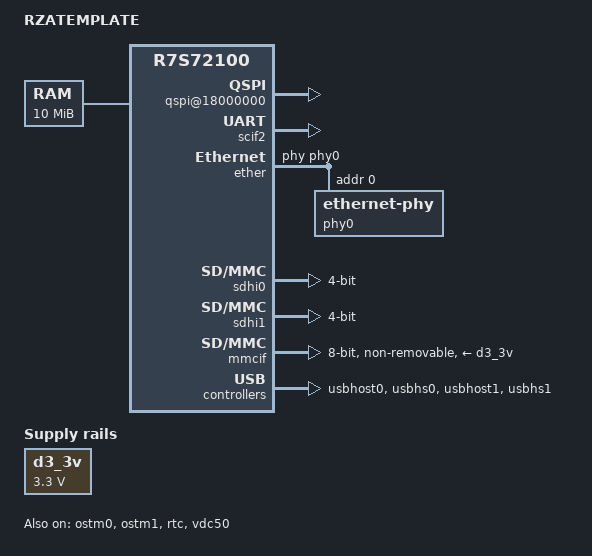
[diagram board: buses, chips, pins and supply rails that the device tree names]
// SPDX-License-Identifier: GPL-2.0 or MIT
/*
 * Device Tree Source for the RZATEMPLATE board
 *
 * Copyright (C) 2017 Renesas Electronics
 *
 * This file is dual-licensed: you can use it either under the terms
 * of the GPL or the MIT license, at your option. Note that this dual
 * licensing only applies to this file, and not this project as a
 * whole.
 *
 */

/dts-v1/;
//#define CONFIG_RZA1L	/* must be defined before including r7s72100.dtsi for RZ/A1L devices */
#include "r7s72100.dtsi"
#include <dt-bindings/gpio/gpio.h>
#include <dt-bindings/pinctrl/r7s72100-pinctrl.h>

/ {
	model = "RZATEMPLATE";
	compatible = "mycompany,rzatemplate", "renesas,r7s72100";

	aliases {
		/* It is recommended to always map the serial console as /dev/ttySC0
		 * in you system regardless of the actual SCIF channel used */
		serial0 = &scif2;
	};

	chosen {
		/* Keep extra spaces at the end in case you want to add additional command line options from u-boot */
		bootargs = "ignore_loglevel earlyprintk earlycon=scif,0xE8008000 rootfstype=axfs root=/dev/null rootflags=physaddr=0x18800000     ";
		stdout-path = "serial0:115200n8";
	};

	memory@8000000 {
		device_type = "memory";
		reg = <0x20000000 0x00A00000>;
	};

	lbsc {
		#address-cells = <1>;
		#size-cells = <1>;
	};

#if 0 /* LED (GPIO) as an example */
	leds {
		status = "okay";
		compatible = "gpio-leds";

		led0 {
			gpios = <&port7 1 GPIO_ACTIVE_LOW>;
		};
	};
#endif

#if 1
	/* File System in XIP QSPI */
	/* Remember, we'll be in QSPI XIP mode at this point */
	/* Requires CONFIG_MTD_ROM=y */
	qspi@18000000 {
		compatible = "mtd-rom";
		probe-type = "map_rom";
		reg = <0x18000000 0x4000000>;	/* 64 MB*/
		bank-width = <4>;
		device-width = <1>;

		#address-cells = <1>;
		#size-cells = <1>;

		partition@800000 {
			label ="user";
			reg = <0x0800000 0x800000>; /* 8MB @ 0x18800000 */
			read-only;
		};
	};
#endif
};

/* SECT_EXTAL */
/* EXTAL (remove if not populated) */
&extal_clk {
	clock-frequency = <13330000>;	/* 13.33MHz */
};
/* SECT_EXTAL_END */

/* SECT_USB_EXTAL */
/* USB_X1 (remove if not populated) */
&usb_x1_clk {
	clock-frequency = <48000000>;	/* 48MHz */
};
/* SECT_USB_EXTAL_END */

/* SECT_RTC_X1 */
/* RTC_X1 (remove if not populated) */
&rtc_x1_clk {
	clock-frequency = <32768>;
};
/* SECT_RTC_X1_END */

/* Define your pin settings here
 *
 * Please refer to tables 54.xx in the Hardware Manual for the correct
 * 'Alternative Mode' number for each pin. Caution: Alt Mode numbers
 * vary per pin and per device tyep (RZ/A1L,A1M,A1H)
 *
 * Syntax:
 *    pinmux = <RZA1_PINMUX(Port, Pin, Alt Mode)>
 *
 * Example:
 *    pinmux = <RZA1_PINMUX(3, 0, 6)>   /* P3_0 = TxD2 */
/*
 */
&pinctrl {

	/* Serial Console */
	scif2_pins: serial2 {
		pinmux = <RZA1_PINMUX(?, ?, ?)>,	/* TxD2 */
			 <RZA1_PINMUX(?, ?, ?)>;	/* RxD2 */
	};

/* SECT_ETHERNET */
	/* Ethernet Pins */
	ether_pins: ether {
		pinmux = <RZA1_PINMUX(?, ?, ?)>,	/* ET_COL   */
			 <RZA1_PINMUX(?, ?, ?)>,	/* ET_MDC   */
			 <RZA1_PINMUX(?, ?, ?)>,	/* ET_MDIO  */
			 <RZA1_PINMUX(?, ?, ?)>,	/* ET_RXCLK */
			 <RZA1_PINMUX(?, ?, ?)>,	/* ET_RXER  */
			 <RZA1_PINMUX(?, ?, ?)>,	/* ET_RXDV  */
			 <RZA1_PINMUX(?, ?, ?)>,	/* ET_TXCLK */
			 <RZA1_PINMUX(?, ?, ?)>,	/* ET_TXER  */
			 <RZA1_PINMUX(?, ?, ?)>,	/* ET_TXEN  */
			 <RZA1_PINMUX(?, ?, ?)>,	/* ET_CRS   */
			 <RZA1_PINMUX(?, ?, ?)>,	/* ET_TXD0  */
			 <RZA1_PINMUX(?, ?, ?)>,	/* ET_TXD1  */
			 <RZA1_PINMUX(?, ?, ?)>,	/* ET_TXD2  */
			 <RZA1_PINMUX(?, ?, ?)>,	/* ET_TXD3  */
			 <RZA1_PINMUX(?, ?, ?)>,	/* ET_RXD0  */
			 <RZA1_PINMUX(?, ?, ?)>,	/* ET_RXD1  */
			 <RZA1_PINMUX(?, ?, ?)>,	/* ET_RXD2  */
			 <RZA1_PINMUX(?, ?, ?)>;	/* ET_RXD3  */
	};
/* SECT_ETHERNET_END */

/* SECT_SDHI_CH0 */
	/* SDHI ch0 Pins */
	sdhi0_pins: sdhi0 {
		pinmux = <RZA1_PINMUX(?, ?, ?)>,	/* SD_CD_0 */
			 <RZA1_PINMUX(?, ?, ?)>,	/* SD_WP_0 */
			 <RZA1_PINMUX(?, ?, ?)>,	/* SD_D1_0 */
			 <RZA1_PINMUX(?, ?, ?)>,	/* SD_D0_0 */
			 <RZA1_PINMUX(?, ?, ?)>,	/* SD_CLK_0 */
			 <RZA1_PINMUX(?, ?, ?)>,	/* SD_CMD_0 */
			 <RZA1_PINMUX(?, ?, ?)>,	/* SD_D3_0 */
			 <RZA1_PINMUX(?, ?, ?)>;	/* SD_D2_0 */
	};
/* SECT_SDHI_CH0_END */

/* SECT_SDHI_CH1 */
	/* SDHI ch1 Pins */
	sdhi1_pins: sdhi1 {
		pinmux = <RZA1_PINMUX(?, ?, ?)>,	/* SD_CD_1 */
			 <RZA1_PINMUX(?, ?, ?)>,	/* SD_WP_1 */
			 <RZA1_PINMUX(?, ?, ?)>,	/* SD_D1_1 */
			 <RZA1_PINMUX(?, ?, ?)>,	/* SD_D0_1 */
			 <RZA1_PINMUX(?, ?, ?)>,	/* SD_CLK_1 */
			 <RZA1_PINMUX(?, ?, ?)>,	/* SD_CMD_1 */
			 <RZA1_PINMUX(?, ?, ?)>,	/* SD_D3_1 */
			 <RZA1_PINMUX(?, ?, ?)>;	/* SD_D2_1 */
	};
/* SECT_SDHI_CH1_END */

/* SECT_MMC */
	/* MMC Pins */
	mmc_pins: mmc {
		pinmux = <RZA1_PINMUX(?, ?, ?)>,	/* MMC_CD */
			 <RZA1_PINMUX(?, ?, ?)>,	/* MMC_D1 */
			 <RZA1_PINMUX(?, ?, ?)>,	/* MMC_D0 */
			 <RZA1_PINMUX(?, ?, ?)>,	/* MMC_CLK */
			 <RZA1_PINMUX(?, ?, ?)>,	/* MMC_CMD */
			 <RZA1_PINMUX(?, ?, ?)>,	/* MMC_D3 */
			 <RZA1_PINMUX(?, ?, ?)>,	/* MMC_D2 */
			 <RZA1_PINMUX(?, ?, ?)>,	/* MMC_D4 */
			 <RZA1_PINMUX(?, ?, ?)>,	/* MMC_D5 */
			 <RZA1_PINMUX(?, ?, ?)>,	/* MMC_D6 */
			 <RZA1_PINMUX(?, ?, ?)>;	/* MMC_D7 */
	};
/* SECT_MMC_END */

#if 0 /* I2C pin setup example */
	/* RIIC ch0 Pins */
	i2c0_pins: i2c0 {
		pinmux = <RZA1_PINMUX(?, ?, ?)>,	/* RIIC0SCL */
			 <RZA1_PINMUX(?, ?, ?)>;	/* RIIC0SDA */
	};
#endif

/* SECT_VDC5 */
#if 0 /* IRQ pin setup example */
	/* IRQx (for Touchscreen) */
	irq1_pins: irq1 {
		pinmux = <RZA1_PINMUX(4, 9, 8)>;	/* IRQx */
	};
#endif
/* SECT_VDC5_END */

/* SECT_VDC5_PARALLEL */
	/* VDC5 LCD ch 0 Pins */
	vdc50_pins: vdc50 {
		pinmux =
			<RZA1_PINMUX(?, ?, ?)>,	/* LCD0_DATA0 */
			<RZA1_PINMUX(?, ?, ?)>,	/* LCD0_DATA1 */
			<RZA1_PINMUX(?, ?, ?)>,	/* LCD0_DATA2 */
			<RZA1_PINMUX(?, ?, ?)>,	/* LCD0_DATA3 */
			<RZA1_PINMUX(?, ?, ?)>,	/* LCD0_DATA4 */
			<RZA1_PINMUX(?, ?, ?)>,	/* LCD0_DATA5 */
			<RZA1_PINMUX(?, ?, ?)>,	/* LCD0_DATA6 */
			<RZA1_PINMUX(?, ?, ?)>,	/* LCD0_DATA7 */

			<RZA1_PINMUX(?, ?, ?)>,	/* LCD0_DATA8 */
			<RZA1_PINMUX(?, ?, ?)>,	/* LCD0_DATA9 */
			<RZA1_PINMUX(?, ?, ?)>,	/* LCD0_DATA10 */
			<RZA1_PINMUX(?, ?, ?)>,	/* LCD0_DATA11 */
			<RZA1_PINMUX(?, ?, ?)>,	/* LCD0_DATA12 */
			<RZA1_PINMUX(?, ?, ?)>,	/* LCD0_DATA13 */
			<RZA1_PINMUX(?, ?, ?)>,	/* LCD0_DATA14 */
			<RZA1_PINMUX(?, ?, ?)>,	/* LCD0_DATA15 */

			<RZA1_PINMUX(?, ?, ?)>,	/* LCD0_DATA16 */
			<RZA1_PINMUX(?, ?, ?)>,	/* LCD0_DATA17 */
			<RZA1_PINMUX(?, ?, ?)>,	/* LCD0_DATA18 */
			<RZA1_PINMUX(?, ?, ?)>,	/* LCD0_DATA19 */
			<RZA1_PINMUX(?, ?, ?)>,	/* LCD0_DATA20 */
			<RZA1_PINMUX(?, ?, ?)>,	/* LCD0_DATA21 */
			<RZA1_PINMUX(?, ?, ?)>,	/* LCD0_DATA22 */
			<RZA1_PINMUX(?, ?, ?)>,	/* LCD0_DATA23 */

			/* TCON pins (some may not be used) */
			//<RZA1_PINMUX(?, ?, ?)>,	/* LCD0_TCON0 */
			//<RZA1_PINMUX(?, ?, ?)>,	/* LCD0_TCON1 */
			<RZA1_PINMUX(?, ?, ?)>,		/* LCD0_TCON2 */
			<RZA1_PINMUX(?, ?, ?)>,		/* LCD0_TCON3 */
			<RZA1_PINMUX(?, ?, ?)>,		/* LCD0_TCON4 */
			//<RZA1_PINMUX(?, ?,  ?)>,	/* LCD0_TCON5 */
			//<RZA1_PINMUX(?, ?,  ?)>,	/* LCD0_TCON6 */

			<RZA1_PINMUX(?, ?, ?)>;	/* LCD0_CLK */
	};
/* SECT_VDC5_PARALLEL_END */
/* SECT_VDC5_LVDS */
	/* VDC5 LCD ch 0 LVDS Pins */
	vdc50_pins: vdc50 {
		pinmux = <RZA1_PINMUX(5, 0, 1)>,	/* TXCLKOUTP */
			 <RZA1_PINMUX(5, 1, 1)>,	/* TXCLKOUTM */
			 <RZA1_PINMUX(5, 2, 1)>,	/* TXOUT2P */
			 <RZA1_PINMUX(5, 3, 1)>,	/* TXOUT2M */
			 <RZA1_PINMUX(5, 4, 1)>,	/* TXOUT1P */
			 <RZA1_PINMUX(5, 5, 1)>,	/* TXOUT1M */
			 <RZA1_PINMUX(5, 6, 1)>,	/* TXOUT0P */
			 <RZA1_PINMUX(5, 7, 1)>;	/* TXOUT0M */
	};
/* SECT_VDC5_LVDS_END */

};

/* High resolution System tick timers */
&ostm0 {
	status = "okay";
};

&ostm1 {
	status = "okay";
};

/* The MTU2 system timer is not really needed if you are using the higher
 * resolution OSTM timer */
# if 0
&mtu2 {
	status = "okay";
};
#endif

/* SECT_RTC_X1 */
/* Real Time Clock */
&rtc {
	status = "okay";
};
/* SECT_RTC_X1_END */

/* Serial Console */
&scif2 {
	pinctrl-names = "default";
	pinctrl-0 = <&scif2_pins>;

	//uart-has-rtscts;	/* uncomment to use RTS/CTS, but you will also need to set up the pins */
	status = "okay";
};

/* SECT_ETHERNET */
/* Ethernet */
&ether {
	pinctrl-names = "default";
	pinctrl-0 = <&ether_pins>;
	status = "okay";
	renesas,no-ether-link;
	phy-handle = <&phy0>;
	phy0: ethernet-phy@0 {
		reg = <0>;
	};
};
/* SECT_ETHERNET_END */

/* SECT_SDHI_CH0 */
/* SDHI ch0 */
&sdhi0 {
	pinctrl-names = "default";
	pinctrl-0 = <&sdhi0_pins>;
	bus-width = <4>;
	status = "okay";
};
/* SECT_SDHI_CH0_END */

/* SECT_SDHI_CH1 */
/* SDHI ch1 */
&sdhi1 {
	pinctrl-names = "default";
	pinctrl-0 = <&sdhi1_pins>;
	bus-width = <4>;
	status = "okay";
};
/* SECT_SDHI_CH1_END */

/* SECT_MMC */
/* MMC */
/*
 * MMC devices requires a 3.3 volt regulator node.
 * Add a 3.3v "regulator-fixed" node at the root
 */
/ {
	d3_3v: regulator-d3-3v {
		compatible = "regulator-fixed";
		regulator-name = "D3.3V";
		regulator-min-microvolt = <3300000>;
		regulator-max-microvolt = <3300000>;
		regulator-boot-on;
		regulator-always-on;
	};
};
&mmcif {
	pinctrl-names = "default";
	pinctrl-0 = <&mmc_pins>;
	vmmc-supply = <&d3_3v>;
	vqmmc-supply = <&d3_3v>;
	bus-width = <8>;
	non-removable;
	status = "okay";
};
/* SECT_MMC_END */

/* SECT_USB_HOST_CH0 */
/* USB Host ch0 */
&usbhost0 {
	status = "okay";
	xtal-48mhz;
};
/* SECT_USB_HOST_CH0_END */

/* SECT_USB_FUNCTION_CH0 */
/* USB Function ch0 */
&usbhs0 {
	status = "okay";
};
/* SECT_USB_FUNCTION_CH0_END */

/* SECT_USB_HOST_CH1 */
/* USB Host ch1 */
&usbhost1 {
	/* NOTE: You MUST enable USB ch0 (host or device) first because
	   there are some shared registers bits in USB0 that USB1 needs. */
	status = "okay";
	xtal-48mhz;
};
/* SECT_USB_HOST_CH1_END */

/* SECT_USB_FUNCTION_CH1 */
/* USB Function ch1 */
&usbhs1 {
	/* NOTE: You MUST enable USB ch0 (host or device) first because
	   there are some shared registers bits in USB0 that USB1 needs. */
	status = "okay";
};
/* SECT_USB_FUNCTION_CH1_END */

/* SECT_VDC5 */
/* RIIC0 (I2C Touchscreen example) */
#if 0
&i2c0 {
	pinctrl-names = "default";
	pinctrl-0 = <&i2c0_pins>;
	status = "okay";
	clock-frequency = <400000>;

	/* Focaltech FT5x06 Capacitive Touch Panel Controller */
	ft5x06_ts@38 {
		compatible = "focaltech,ft5x06";
		reg = <0x38>; /* I2C address = 0x38 */

		pinctrl-names = "default";
		pinctrl-0 = <&irq1_pins>;
		interrupts = <GIC_SPI (33-32) IRQ_TYPE_LEVEL_LOW>; /* IRQ1 */

		touchscreen-size-x = <800>;
		touchscreen-size-y = <480>;

		/* The touchscreen on the RSK LCD is backwards for some reason */
		touchscreen-inverted-x;
		touchscreen-inverted-y;
	};
};
#endif
/* SECT_VDC5_END */

/* SECT_VDC5 */
/* LCD */
#define VDC5_BPP 16 /* 16bpp or 32bpp */
#define VDC5_FBSIZE (800*480*VDC5_BPP/8)
#define VDC5_FB_ADDR 0	/* 0 = allocate memory at probe (don't use when using SDRAM) */
//#define VDC5_FB_ADDR (0x60000000) /* fixed address in PAGE 0 */

&vdc50 {
	pinctrl-names = "default";
	pinctrl-0 = <&vdc50_pins>;

	display = <&display0>;
	status = "okay";

	/* Set the physical frame buffer address for internal RAM. */
	fb_phys_addr = <VDC5_FB_ADDR>;
	fb_phys_size = <VDC5_FBSIZE>;

	panel_name = "gwp0700cnwv04";
	panel_pixel_xres = <800>;	/* panel native resolution */
	panel_pixel_yres = <480>;	/* panel native resolution */


	/* See 'drivers/video/fbdev/renesas/vdc5fb.h' for valid choices
	* for panel_icksel, panel_ocksel, and out_format */
	panel_icksel = <3>;	/* 3=ICKSEL_P1CLK (Peripheral clock 1) */
	panel_ocksel = <0>;	/* (don't care when lvds=0 ) */
	out_format = <0>;	/* 0=RGB888, 1=RGB666, 2=RGB565 */
	use_lvds = <0>;		/* Set to 0 or 1 */

	/* Define how the TCON pins going to be used */
	/* From file [ drivers/video/fbdev/renesas/vdc5fb.h ]
	 * 0 = STVA/VS (VSYNC)
	 * 1 = STVB/VE (Vertical Enable)
	 * 2 = STH/SP/HS (HSYNC)
	 * 3 = STB/LP/HE (Horizontal Enable)
	 * 4 = CPV/GCK (Gate clock signal)
	 * 5 = POLA (VCOM voltage polarity control signal)
	 * 6 = POLB (VCOM voltage polarity control signal)
	 * 7 = DE (Data Enable)
	 * 0xff = pin not used */

/* SECT_VDC5_PARALLEL */
	/* TCON for Parallel RGB */
	tcon_sel = <
		0xff	/* TCON0: */
		0xff	/* TCON1: */
		7	/* TCON2: DATA ENABLE */
		2	/* TCON3: HSYNC */
		0	/* TCON4: VSYNC */
		0xff	/* TCON5: */
		0xff	/* TCON6: */
		>;
/* SECT_VDC5_PARALLEL_END */

/* SECT_VDC5_LVDS */
	/* TCON for LVDS */
	/* For LVDS, the physical TCON pins are not used, but they still need to be
	 * configured so they can internally be multiplexed in the LVDS stream. */
	tcon_sel = <
		0	/* TCON0: VSYNC		(for LVDS, VS must be TCON0) */
		0xff	/* TCON1: 		(not connected to LVDS circuit) */
		2	/* TCON2: HSYNC		(for LVDS, HS must be TCON2) */
		7	/* TCON3: DATA ENABLE	(for LVDS, DE must be TCON3) */
		0xff	/* TCON4: 		(not connected to LVDS circuit) */
		0xff	/* TCON5: 		(not connected to LVDS circuit) */
		0xff	/* TCON6: 		(not connected to LVDS circuit) */
		>;
/* SECT_VDC5_LVDS_END */

	display0: display0 {
		bits-per-pixel = <VDC5_BPP>;
		bus-width = <24>;

		display-timings {
			native-mode = <&timing0>;
			timing0: timing0 {
				clock-frequency = <33325000>; /* At run time, will calculate as close to this speed without going over. */
				/*clock-frequency = <71100000>;*/ /* min:64.3MHz, typ:71.1MHz, max:82MHz */
				hactive = <800>;
				vactive = <480>;
				hback-porch = <46>;
				hfront-porch = <210>;
				vback-porch = <23>;
				vfront-porch = <22>;
				hsync-len = <40>; /* max */
				vsync-len = <20>; /* max */
				hsync-active = <1>; /* HIGH */
				vsync-active = <1>; /* HIGH */
				de-active = <0>; /* LOW */
				pixelclk-active = <0>; /* ??? */
			};
		};
	};
};
/* SECT_VDC5_END */


